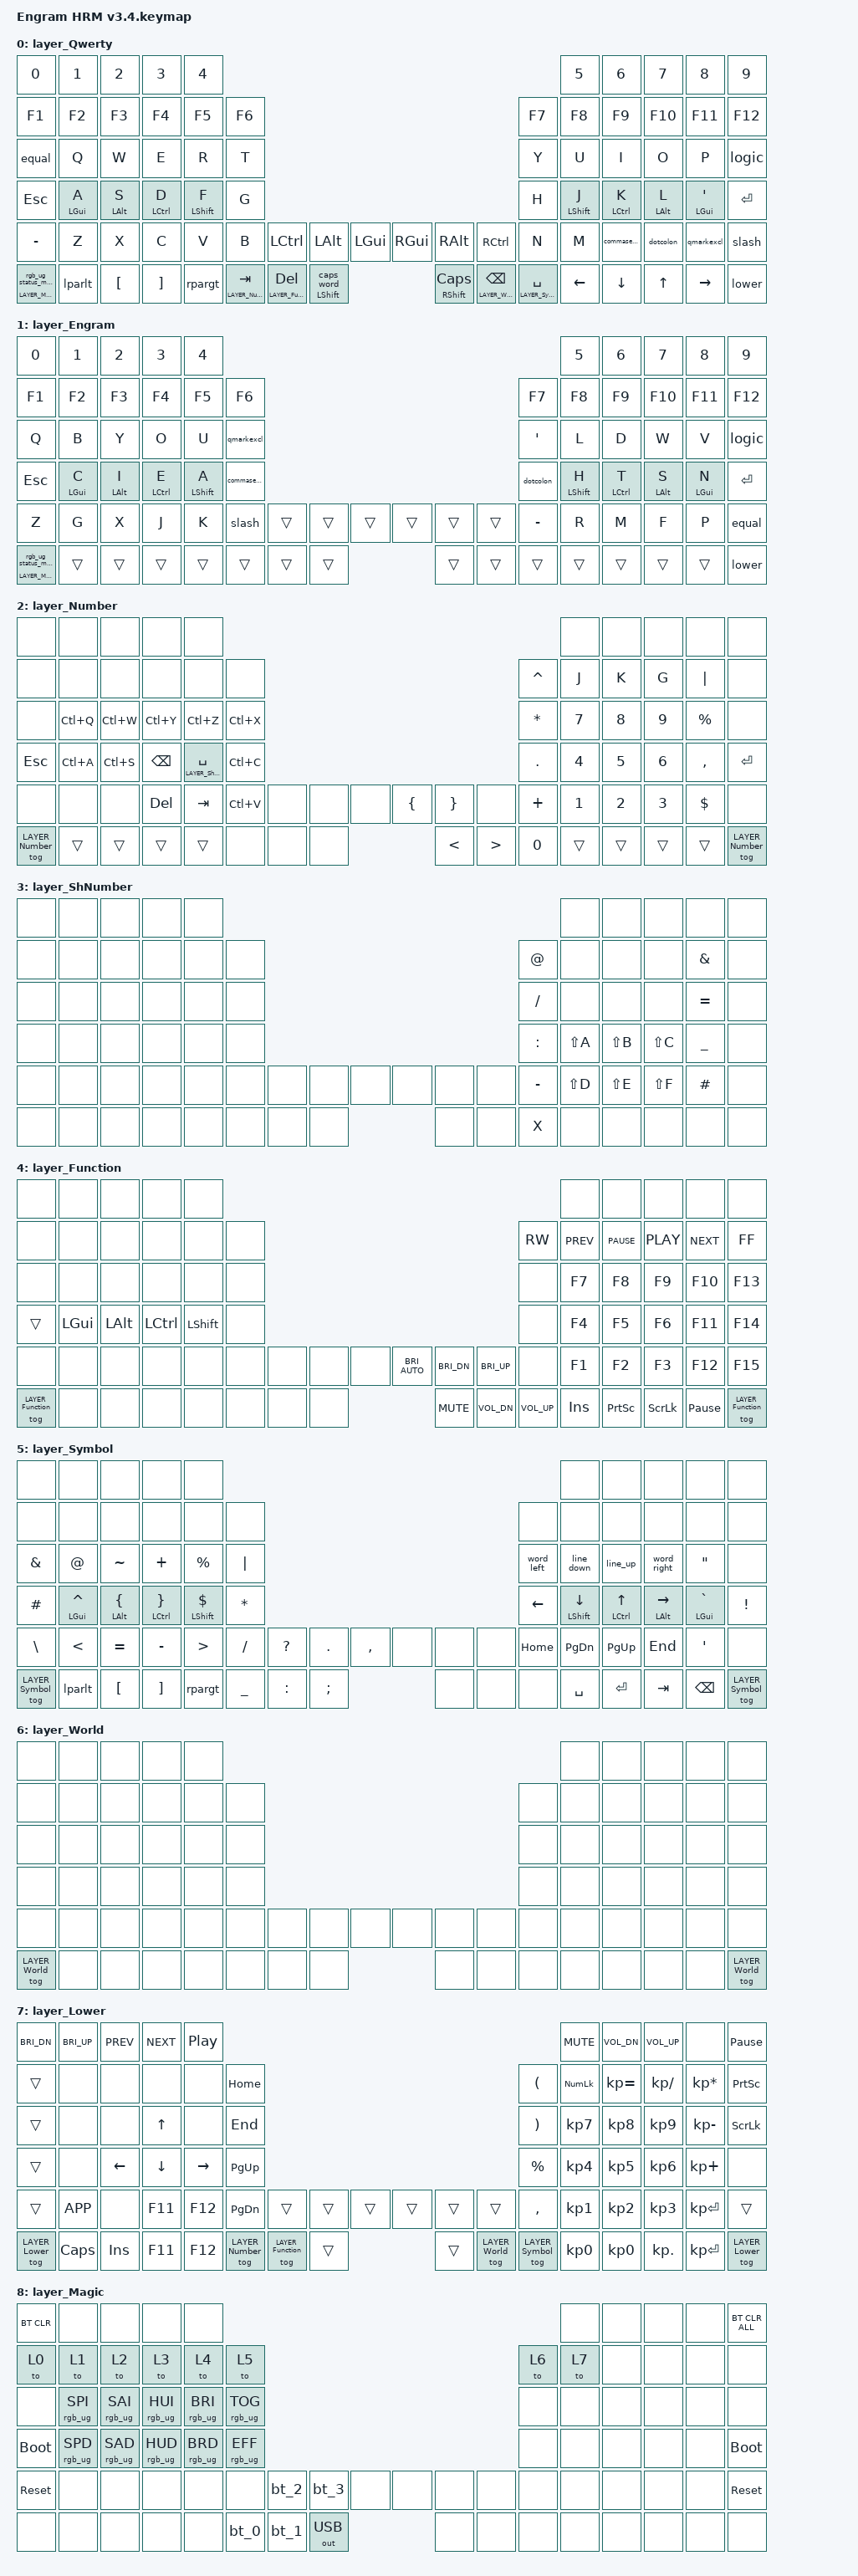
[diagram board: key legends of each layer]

/*
 * Copyright (c) 2020 The ZMK Contributors
 * Copyright (c) 2023 Innaworks Development Limited, trading as MoErgo
 *
 * SPDX-License-Identifier: MIT
 */


/* THIS FILE WAS GENERATED BY GLOVE80 LAYOUT EDITOR
 *
 * This file was generated automatically. You may or may not want to
 * edit it directly.
 */

#include <behaviors.dtsi>
/* Include all behavior includes needed */
#include <dt-bindings/zmk/outputs.h>
#include <dt-bindings/zmk/keys.h>
#include <dt-bindings/zmk/bt.h>
#include <dt-bindings/zmk/rgb.h>

/* Automatically generated layer name #define */
#define LAYER_Qwerty 0
#define LAYER_Engram 1
#define LAYER_Number 2
#define LAYER_ShNumber 3
#define LAYER_Function 4
#define LAYER_Symbol 5
#define LAYER_World 6
#define LAYER_Lower 7
#define LAYER_Magic 8

/* To deal with the situation where there is no Lower layer, to keep &lower happy */
#ifndef LAYER_Lower
#define LAYER_Lower 0
#endif

/* Custom Device-tree */



/* Glove80 system behavior & macros */
/ {
    behaviors {
        // For the "layer" key, it'd nice to be able to use it as either a shift or a toggle.
        // Configure it as a tap dance, so the first tap (or hold) is a &mo and the second tap is a &to
        lower: lower {
            compatible = "zmk,behavior-tap-dance";
            label = "LAYER_TAP_DANCE";
            #binding-cells = <0>;
            tapping-term-ms = <200>;
            bindings = <&mo LAYER_Lower>, <&to LAYER_Lower>;
        };
    };
};

/ {
    macros {
        rgb_ug_status_macro: rgb_ug_status_macro {
            label = "RGB_UG_STATUS";
            compatible = "zmk,behavior-macro";
            #binding-cells = <0>;
            bindings
                = <&rgb_ug RGB_STATUS>;
        };
    };
};


/ {
#ifdef BT_DISC_CMD
    behaviors {
        bt_0: bt_0 {
            compatible = "zmk,behavior-tap-dance";
            label = "BT_0";
            #binding-cells = <0>;
            tapping-term-ms = <200>;
            bindings = <&bt_select_0>, <&bt BT_DISC 0>;
        };
        bt_1: bt_1 {
            compatible = "zmk,behavior-tap-dance";
            label = "BT_1";
            #binding-cells = <0>;
            tapping-term-ms = <200>;
            bindings = <&bt_select_1>, <&bt BT_DISC 1>;
        };
        bt_2: bt_2 {
            compatible = "zmk,behavior-tap-dance";
            label = "BT_2";
            #binding-cells = <0>;
            tapping-term-ms = <200>;
            bindings = <&bt_select_2>, <&bt BT_DISC 2>;
        };
        bt_3: bt_3 {
            compatible = "zmk,behavior-tap-dance";
            label = "BT_3";
            #binding-cells = <0>;
            tapping-term-ms = <200>;
            bindings = <&bt_select_3>, <&bt BT_DISC 3>;
        };
    };
    macros {
        bt_select_0: bt_select_0 {
            label = "BT_SELECT_0";
            compatible = "zmk,behavior-macro";
            #binding-cells = <0>;
            bindings
                = <&out OUT_BLE>,
                  <&bt BT_SEL 0>;
        };
        bt_select_1: bt_select_1 {
            label = "BT_SELECT_1";
            compatible = "zmk,behavior-macro";
            #binding-cells = <0>;
            bindings
                = <&out OUT_BLE>,
                  <&bt BT_SEL 1>;
        };
        bt_select_2: bt_select_2 {
            label = "BT_SELECT_2";
            compatible = "zmk,behavior-macro";
            #binding-cells = <0>;
            bindings
                = <&out OUT_BLE>,
                  <&bt BT_SEL 2>;
        };
        bt_select_3: bt_select_3 {
            label = "BT_SELECT_3";
            compatible = "zmk,behavior-macro";
            #binding-cells = <0>;
            bindings
                = <&out OUT_BLE>,
                  <&bt BT_SEL 3>;
        };
    };
#else
    macros {
        bt_0: bt_0 {
            label = "BT_0";
            compatible = "zmk,behavior-macro";
            #binding-cells = <0>;
            bindings
                = <&out OUT_BLE>,
                  <&bt BT_SEL 0>;
        };
        bt_1: bt_1 {
            label = "BT_1";
            compatible = "zmk,behavior-macro";
            #binding-cells = <0>;
            bindings
                = <&out OUT_BLE>,
                  <&bt BT_SEL 1>;
        };
        bt_2: bt_2 {
            label = "BT_2";
            compatible = "zmk,behavior-macro";
            #binding-cells = <0>;
            bindings
                = <&out OUT_BLE>,
                  <&bt BT_SEL 2>;
        };
        bt_3: bt_3 {
            label = "BT_3";
            compatible = "zmk,behavior-macro";
            #binding-cells = <0>;
            bindings
                = <&out OUT_BLE>,
                  <&bt BT_SEL 3>;
        };
    };
#endif
};

/ {
    behaviors {
        magic: magic {
            compatible = "zmk,behavior-hold-tap";
            label = "MAGIC_HOLD_TAP";
            #binding-cells = <2>;
            flavor = "tap-preferred";
            tapping-term-ms = <200>;
            bindings = <&mo>, <&rgb_ug_status_macro>;
        };
    };
};

/* #define for key positions */
#define POS_LH_T1 52
#define POS_LH_T2 53
#define POS_LH_T3 54
#define POS_LH_T4 69
#define POS_LH_T5 70
#define POS_LH_T6 71
#define POS_LH_C1R2 15
#define POS_LH_C1R3 27
#define POS_LH_C1R4 39
#define POS_LH_C1R5 51
#define POS_LH_C2R1 4
#define POS_LH_C2R2 14
#define POS_LH_C2R3 26
#define POS_LH_C2R4 38
#define POS_LH_C2R5 50
#define POS_LH_C2R6 68
#define POS_LH_C3R1 3
#define POS_LH_C3R2 13
#define POS_LH_C3R3 25
#define POS_LH_C3R4 37
#define POS_LH_C3R5 49
#define POS_LH_C3R6 67
#define POS_LH_C4R1 2
#define POS_LH_C4R2 12
#define POS_LH_C4R3 24
#define POS_LH_C4R4 36
#define POS_LH_C4R5 48
#define POS_LH_C4R6 66
#define POS_LH_C5R1 1
#define POS_LH_C5R2 11
#define POS_LH_C5R3 23
#define POS_LH_C5R4 35
#define POS_LH_C5R5 47
#define POS_LH_C5R6 65
#define POS_LH_C6R1 0
#define POS_LH_C6R2 10
#define POS_LH_C6R3 22
#define POS_LH_C6R4 34
#define POS_LH_C6R5 46
#define POS_LH_C6R6 64
#define POS_RH_T1 57
#define POS_RH_T2 56
#define POS_RH_T3 55
#define POS_RH_T4 74
#define POS_RH_T5 73
#define POS_RH_T6 72
#define POS_RH_C1R2 16
#define POS_RH_C1R3 28
#define POS_RH_C1R4 40
#define POS_RH_C1R5 58
#define POS_RH_C2R1 5
#define POS_RH_C2R2 17
#define POS_RH_C2R3 29
#define POS_RH_C2R4 41
#define POS_RH_C2R5 59
#define POS_RH_C2R6 75
#define POS_RH_C3R1 6
#define POS_RH_C3R2 18
#define POS_RH_C3R3 30
#define POS_RH_C3R4 42
#define POS_RH_C3R5 60
#define POS_RH_C3R6 76
#define POS_RH_C4R1 7
#define POS_RH_C4R2 19
#define POS_RH_C4R3 31
#define POS_RH_C4R4 43
#define POS_RH_C4R5 61
#define POS_RH_C4R6 77
#define POS_RH_C5R1 8
#define POS_RH_C5R2 20
#define POS_RH_C5R3 32
#define POS_RH_C5R4 44
#define POS_RH_C5R5 62
#define POS_RH_C5R6 78
#define POS_RH_C6R1 9
#define POS_RH_C6R2 21
#define POS_RH_C6R3 33
#define POS_RH_C6R4 45
#define POS_RH_C6R5 63
#define POS_RH_C6R6 79

/* Custom Defined Behaviors */
/ {
// HRM parameters
#define HOLD_TYPE "tap-preferred" // flavor of hold-tap. `tap-preferred` means modifier will only be triggered if held for `HOLD_TIME` or longer. Pressing another key before this triggers 'tap' behavior. Except for keys in `hold-trigger-key-positions`
#define HOLD_TIME 200 // how long you need to hold key in order to send their modifiers to the computer
#define STREAK_DECAY 150 // how long you need to wait after typing before you can use home row mods again.
#define REPEAT_DECAY 300 // how much time you have left after tapping a key to hold it again in order to make it auto-repeat.
#define SELECT_WORD_DELAY 1 // wait-ms and tap-ms for select word macros

// Glove80 key positions index for positional hold-tap
    #define LEFT_HAND_KEYS      \
          0  1  2  3  4         \
         10 11 12 13 14 15      \
         22 23 24 25 26 27      \
         34 35 36 37 38 39      \
         46 47 48 49 50 51      \
         64 65 66 67 68
    #define RIGHT_HAND_KEYS     \
                                           5  6  7  8  9 \
                                       16 17 18 19 20 21 \
                                       28 29 30 31 32 33 \
                                       40 41 42 43 44 45 \
                                       58 59 60 61 62 63 \
                                          75 76 77 78 79
    #define THUMB_KEYS          \
                        69 52       57 74                \
                         70 53     56 73                 \
                          71 54   55 72

behaviors {
    word_right: word_right {
      compatible = "zmk,behavior-mod-morph";
      #binding-cells = <0>;
      bindings = <&select_word_right>, <&extend_word_right>;
      mods = <(MOD_LSFT|MOD_RSFT)>;
    };

    word_left: word_left {
      compatible = "zmk,behavior-mod-morph";
      #binding-cells = <0>;
      bindings = <&select_word_left>, <&extend_word_left>;
      mods = <(MOD_LSFT|MOD_RSFT)>;
    };

    line_down: line_down {
      compatible = "zmk,behavior-mod-morph";
      #binding-cells = <0>;
      bindings = <&select_line_down>, <&extend_line_down>;
      mods = <(MOD_LSFT|MOD_RSFT)>;
    };

    line_up: line_up {
      compatible = "zmk,behavior-mod-morph";
      #binding-cells = <0>;
      bindings = <&select_line_up>, <&extend_line_up>;
      mods = <(MOD_LSFT|MOD_RSFT)>;
    };

    lparlt: shift_LPAR_LT {
      compatible = "zmk,behavior-mod-morph";
      #binding-cells = <0>;
      bindings = <&kp LPAR>, <&kp LT>;
      mods = <(MOD_LSFT|MOD_RSFT)>;
    };

    rpargt: shift_RPAR_GT {
      compatible = "zmk,behavior-mod-morph";
      #binding-cells = <0>;
      bindings = <&kp RPAR>, <&kp GT>;
      mods = <(MOD_LSFT|MOD_RSFT)>;
    };

    dotcolon: shift_DOT_COLON {
      compatible = "zmk,behavior-mod-morph";
      #binding-cells = <0>;
      bindings = <&kp DOT>, <&kp COLON>;
      mods = <(MOD_LSFT|MOD_RSFT)>;
    };

    commasemi: shift_COMMA_SEMI {
      compatible = "zmk,behavior-mod-morph";
      #binding-cells = <0>;
      bindings = <&kp COMMA>, <&kp SEMI>;
      mods = <(MOD_LSFT|MOD_RSFT)>;
    };

    qmarkexcl: shift_QMARK_EXCL {
      compatible = "zmk,behavior-mod-morph";
      #binding-cells = <0>;
      bindings = <&kp QMARK>, <&kp EXCL>;
      mods = <(MOD_LSFT|MOD_RSFT)>;
    };

    slash: shift_FSLH_BSLH {
      compatible = "zmk,behavior-mod-morph";
      #binding-cells = <0>;
      bindings = <&kp FSLH>, <&kp BSLH>;
      mods = <(MOD_LSFT|MOD_RSFT)>;
    };

    plusminus: shift_PLUS_MINUS {
      compatible = "zmk,behavior-mod-morph";
      #binding-cells = <0>;
      bindings = <&kp PLUS>, <&kp MINUS>;
      mods = <(MOD_LSFT|MOD_RSFT)>;
    };

    starfslh: shift_STAR_FSLH {
      compatible = "zmk,behavior-mod-morph";
      #binding-cells = <0>;
      bindings = <&kp STAR>, <&kp FSLH>;
      mods = <(MOD_LSFT|MOD_RSFT)>;
    };

    caretat: shift_CARET_AT {
      compatible = "zmk,behavior-mod-morph";
      #binding-cells = <0>;
      bindings = <&kp CARET>, <&kp AT>;
      mods = <(MOD_LSFT|MOD_RSFT)>;
    };

    logic: shift_PIPE_AMPS {
      compatible = "zmk,behavior-mod-morph";
      #binding-cells = <0>;
      bindings = <&kp PIPE>, <&kp AMPS>;
      mods = <(MOD_LSFT|MOD_RSFT)>;
    };

    prcntequal: shift_PRCNT_EQUAL {
      compatible = "zmk,behavior-mod-morph";
      #binding-cells = <0>;
      bindings = <&kp PRCNT>, <&kp EQUAL>;
      mods = <(MOD_LSFT|MOD_RSFT)>;
    };

    commaunder: shift_COMMA_UNDER {
      compatible = "zmk,behavior-mod-morph";
      #binding-cells = <0>;
      bindings = <&kp COMMA>, <&kp UNDER>;
      mods = <(MOD_LSFT|MOD_RSFT)>;
    };

    dllrhash: shift_DLLR_HASH {
      compatible = "zmk,behavior-mod-morph";
      #binding-cells = <0>;
      bindings = <&kp DLLR>, <&kp HASH>;
      mods = <(MOD_LSFT|MOD_RSFT)>;
    };

    equal: shift_EQUAL_TILDE {
      compatible = "zmk,behavior-mod-morph";
      #binding-cells = <0>;
      bindings = <&kp EQUAL>, <&kp TILDE>;
      mods = <(MOD_LSFT|MOD_RSFT)>;
    };

    lmt: left_mod_tap {
      compatible = "zmk,behavior-hold-tap";
      flavor = HOLD_TYPE;
      tapping-term-ms = <HOLD_TIME>;
      quick-tap-ms = <REPEAT_DECAY>;
      require-prior-idle-ms = <STREAK_DECAY>;
      hold-trigger-key-positions = <RIGHT_HAND_KEYS THUMB_KEYS>;
      hold-trigger-on-release; // wait for other home row mods
      #binding-cells = <2>;
      bindings = <&kp>, <&kp>;
    };

    rmt: right_mod_tap {
      compatible = "zmk,behavior-hold-tap";
      flavor = HOLD_TYPE;
      tapping-term-ms = <HOLD_TIME>;
      quick-tap-ms = <REPEAT_DECAY>;
      require-prior-idle-ms = <STREAK_DECAY>;
      hold-trigger-key-positions = <LEFT_HAND_KEYS THUMB_KEYS>;
      hold-trigger-on-release; // wait for other home row mods
      #binding-cells = <2>;
      bindings = <&kp>, <&kp>;
    };

    tlt: thumb_layer_tap {
      compatible = "zmk,behavior-hold-tap";
      flavor = HOLD_TYPE;
      tapping-term-ms = <HOLD_TIME>;
      quick-tap-ms = <REPEAT_DECAY>;
      #binding-cells = <2>;
      bindings = <&mo>, <&kp>;
    };

    rtsh: right_thumb_shift {
      compatible = "zmk,behavior-hold-tap";
      flavor = HOLD_TYPE;
      tapping-term-ms = <HOLD_TIME>;
      quick-tap-ms = <REPEAT_DECAY>;
      require-prior-idle-ms = <STREAK_DECAY>;
      hold-trigger-key-positions = <LEFT_HAND_KEYS RIGHT_HAND_KEYS>;
      hold-trigger-on-release; // wait for other home row mods
      #binding-cells = <2>;
      bindings = <&kp>, <&kp>;
    };

    ltsh: left_thumb_shift {
      compatible = "zmk,behavior-hold-tap";
      flavor = HOLD_TYPE;
      tapping-term-ms = <HOLD_TIME>;
      quick-tap-ms = <REPEAT_DECAY>;
      require-prior-idle-ms = <STREAK_DECAY>;
      hold-trigger-key-positions = <LEFT_HAND_KEYS RIGHT_HAND_KEYS>;
      hold-trigger-on-release; // wait for other home row mods
      #binding-cells = <2>;
      bindings = <&kp>, <&caps_word>;
    };

};
};

/* Automatically generated macro definitions */
/ {
    macros {
        select_none: select_none {
            label = "&SELECT_NONE";
            compatible = "zmk,behavior-macro";
            #binding-cells = <0>;
            tap-ms = <11>;
            wait-ms = <11>;
            bindings
                = <&kp DOWN>
                , <&kp UP>
                , <&kp RIGHT>
                , <&kp LEFT>;
        };
    select_word_right: select_word_right {
            label = "&SELECT_WORD_RIGHT";
            compatible = "zmk,behavior-macro";
            #binding-cells = <0>;
            tap-ms = <1>;
            wait-ms = <1>;
            bindings
                = <&kp LC(LEFT)>
                , <&kp LC(RIGHT)>
                , <&kp LC(LS(RIGHT))>;
        };
    select_word_left: select_word_left {
            label = "&SELECT_WORD_LEFT";
            compatible = "zmk,behavior-macro";
            #binding-cells = <0>;
            tap-ms = <1>;
            wait-ms = <1>;
            bindings
                = <&kp LC(RIGHT)>
                , <&kp LC(LEFT)>
                , <&kp LC(LS(LEFT))>;
        };
    select_line_down: select_line_down {
            label = "&SELECT_LINE_DOWN";
            compatible = "zmk,behavior-macro";
            #binding-cells = <0>;
            tap-ms = <10>;
            wait-ms = <10>;
            bindings
                = <&kp DOWN>
                , <&kp HOME>
                , <&kp LS(END)>;
        };
    select_line_up: select_line_up {
            label = "&SELECT_LINE_UP";
            compatible = "zmk,behavior-macro";
            #binding-cells = <0>;
            tap-ms = <10>;
            wait-ms = <10>;
            bindings
                = <&kp UP>
                , <&kp END>
                , <&kp LS(HOME)>;
        };
    extend_line_up: extend_line_up {
            label = "&EXTEND_LINE_UP";
            compatible = "zmk,behavior-macro";
            #binding-cells = <0>;
            tap-ms = <1>;
            wait-ms = <1>;
            bindings
                = <&kp LS(UP)>
                , <&kp LS(HOME)>;
        };
    extend_line_down: extend_line_down {
            label = "&EXTEND_LINE_DOWN";
            compatible = "zmk,behavior-macro";
            #binding-cells = <0>;
            tap-ms = <1>;
            wait-ms = <1>;
            bindings
                = <&kp LS(DOWN)>
                , <&kp LS(END)>;
        };
    extend_word_right: extend_word_right {
            label = "&EXTEND_WORD_RIGHT";
            compatible = "zmk,behavior-macro";
            #binding-cells = <0>;
            tap-ms = <1>;
            wait-ms = <1>;
            bindings
                = <&kp LC(LS(RIGHT))>;
        };
    extend_word_left: extend_word_left {
            label = "&EXTEND_WORD_LEFT";
            compatible = "zmk,behavior-macro";
            #binding-cells = <0>;
            tap-ms = <1>;
            wait-ms = <1>;
            bindings
                = <&kp LC(LS(LEFT))>;
        };
    };
};

/* Automatically generated combos definitions */
/ {
    combos {
            compatible = "zmk,combos";
    };
};

/* Automatically generated keymap */
/ {
    keymap {
        compatible = "zmk,keymap";


        layer_Qwerty {
            bindings = <
               &kp N0       &kp N1       &kp N2        &kp N3        &kp N4                                                                                                                                                         &kp N5        &kp N6       &kp N7         &kp N8   &kp N9
               &kp F1       &kp F2       &kp F3        &kp F4        &kp F5  &kp F6                                                                                                                                   &kp F7        &kp F8        &kp F9      &kp F10        &kp F11  &kp F12
               &equal        &kp Q        &kp W         &kp E         &kp R   &kp T                                                                                                                                    &kp Y         &kp U         &kp I        &kp O          &kp P   &logic
              &kp ESC  &lmt LGUI A  &lmt LALT S  &lmt LCTRL D  &lmt LSHFT F   &kp G                                                                                                                                    &kp H  &rmt LSHFT J  &rmt LCTRL K  &rmt LALT L  &rmt LGUI SQT  &kp RET
            &kp MINUS        &kp Z        &kp X         &kp C         &kp V   &kp B              &kp LCTRL                 &kp LALT       &kp LGUI          &kp RGUI               &kp RALT                &kp RCTRL   &kp N         &kp M    &commasemi    &dotcolon     &qmarkexcl   &slash
 &magic LAYER_Magic 0      &lparlt     &kp LBKT      &kp RBKT       &rpargt          &tlt LAYER_Number TAB  &tlt LAYER_Function DEL  &ltsh LSHFT 0  &rtsh RSHFT CAPS  &tlt LAYER_World BSPC  &tlt LAYER_Symbol SPACE              &kp LEFT      &kp DOWN       &kp UP      &kp RIGHT   &lower
            >;
        };

        layer_Engram {
            bindings = <
               &kp N0       &kp N1       &kp N2        &kp N3        &kp N4                                                                               &kp N5        &kp N6       &kp N7       &kp N8   &kp N9
               &kp F1       &kp F2       &kp F3        &kp F4        &kp F5      &kp F6                                                     &kp F7        &kp F8        &kp F9      &kp F10      &kp F11  &kp F12
                &kp Q        &kp B        &kp Y         &kp O         &kp U  &qmarkexcl                                                    &kp SQT         &kp L         &kp D        &kp W        &kp V   &logic
              &kp ESC  &lmt LGUI C  &lmt LALT I  &lmt LCTRL E  &lmt LSHFT A  &commasemi                                                  &dotcolon  &rmt LSHFT H  &rmt LCTRL T  &rmt LALT S  &rmt LGUI N  &kp RET
                &kp Z        &kp G        &kp X         &kp J         &kp K      &slash  &trans  &trans  &trans  &trans  &trans  &trans  &kp MINUS         &kp R         &kp M        &kp F        &kp P   &equal
 &magic LAYER_Magic 0       &trans       &trans        &trans        &trans              &trans  &trans  &trans  &trans  &trans  &trans                   &trans        &trans       &trans       &trans   &lower
            >;
        };

        layer_Number {
            bindings = <
             &none      &none      &none      &none                     &none                                                                             &none   &none   &none      &none              &none
             &none      &none      &none      &none                     &none      &none                                                      &kp CARET   &kp J   &kp K   &kp G   &kp PIPE              &none
             &none  &kp LC(Q)  &kp LC(W)  &kp LC(Y)                 &kp LC(Z)  &kp LC(X)                                                       &kp STAR  &kp N7  &kp N8  &kp N9  &kp PRCNT              &none
           &kp ESC  &kp LC(A)  &kp LC(S)   &kp BSPC  &lt LAYER_ShNumber SPACE  &kp LC(C)                                                        &kp DOT  &kp N4  &kp N5  &kp N6  &kp COMMA            &kp RET
             &none      &none      &none    &kp DEL                   &kp TAB  &kp LC(V)   &none   &none   &none  &kp LBRC  &kp RBRC   &none   &kp PLUS  &kp N1  &kp N2  &kp N3   &kp DLLR              &none
 &tog LAYER_Number     &trans     &trans     &trans                    &trans              &none   &none   &none    &kp LT    &kp GT  &kp N0             &trans  &trans  &trans     &trans  &tog LAYER_Number
            >;
        };

        layer_ShNumber {
            bindings = <
  &none   &none   &none   &none   &none                                                                         &none      &none      &none      &none   &none
  &none   &none   &none   &none   &none   &none                                                     &kp AT      &none      &none      &none   &kp AMPS   &none
  &none   &none   &none   &none   &none   &none                                                   &kp FSLH      &none      &none      &none  &kp EQUAL   &none
  &none   &none   &none   &none   &none   &none                                                  &kp COLON  &kp LS(A)  &kp LS(B)  &kp LS(C)  &kp UNDER   &none
  &none   &none   &none   &none   &none   &none   &none   &none   &none   &none   &none   &none  &kp MINUS  &kp LS(D)  &kp LS(E)  &kp LS(F)   &kp HASH   &none
  &none   &none   &none   &none   &none           &none   &none   &none   &none   &none   &kp X                 &none      &none      &none      &none   &none
            >;
        };

        layer_Function {
            bindings = <
               &none     &none     &none      &none      &none                                                                                             &none        &none       &none            &none                &none
               &none     &none     &none      &none      &none   &none                                                                      &kp C_RW  &kp C_PREV  &kp C_PAUSE  &kp C_PLAY       &kp C_NEXT             &kp C_FF
               &none     &none     &none      &none      &none   &none                                                                         &none      &kp F7       &kp F8      &kp F9          &kp F10              &kp F13
              &trans  &kp LGUI  &kp LALT  &kp LCTRL  &kp LSHFT   &none                                                                         &none      &kp F4       &kp F5      &kp F6          &kp F11              &kp F14
               &none     &none     &none      &none      &none   &none   &none   &none   &none  &kp C_BRI_AUTO  &kp C_BRI_DN  &kp C_BRI_UP     &none      &kp F1       &kp F2      &kp F3          &kp F12              &kp F15
 &tog LAYER_Function     &none     &none      &none      &none           &none   &none   &none      &kp C_MUTE  &kp C_VOL_DN  &kp C_VOL_UP               &kp INS    &kp PSCRN    &kp SLCK  &kp PAUSE_BREAK  &tog LAYER_Function
            >;
        };

        layer_Symbol {
            bindings = <
             &none            &none           &none            &none            &none                                                                                           &none          &none            &none            &none              &none
             &none            &none           &none            &none            &none     &none                                                                &none            &none          &none            &none            &none              &none
          &kp AMPS           &kp AT       &kp TILDE         &kp PLUS        &kp PRCNT  &kp PIPE                                                           &word_left       &line_down       &line_up      &word_right          &kp DQT              &none
          &kp HASH  &lmt LGUI CARET  &lmt LALT LBRC  &lmt LCTRL RBRC  &lmt LSHFT DLLR  &kp STAR                                                             &kp LEFT  &rmt LSHFT DOWN  &rmt LCTRL UP  &rmt LALT RIGHT  &rmt LGUI GRAVE           &kp EXCL
          &kp BSLH           &kp LT       &kp EQUAL        &kp MINUS           &kp GT  &kp FSLH  &kp QMARK    &kp DOT  &kp COMMA   &none   &none   &none    &kp HOME        &kp PG_DN      &kp PG_UP          &kp END          &kp SQT              &none
 &tog LAYER_Symbol          &lparlt        &kp LBKT         &kp RBKT          &rpargt            &kp UNDER  &kp COLON   &kp SEMI   &none   &none   &none                    &kp SPACE        &kp RET          &kp TAB         &kp BSPC  &tog LAYER_Symbol
            >;
        };

        layer_World {
            bindings = <
            &none   &none   &none   &none   &none                                                                   &none   &none   &none   &none             &none
            &none   &none   &none   &none   &none   &none                                                   &none   &none   &none   &none   &none             &none
            &none   &none   &none   &none   &none   &none                                                   &none   &none   &none   &none   &none             &none
            &none   &none   &none   &none   &none   &none                                                   &none   &none   &none   &none   &none             &none
            &none   &none   &none   &none   &none   &none   &none   &none   &none   &none   &none   &none   &none   &none   &none   &none   &none             &none
 &tog LAYER_World   &none   &none   &none   &none           &none   &none   &none   &none   &none   &none           &none   &none   &none   &none  &tog LAYER_World
            >;
        };

        layer_Lower {
            bindings = <
     &kp C_BRI_DN  &kp C_BRI_UP      &kp C_PREV      &kp C_NEXT         &kp C_PP                                                                                                                                 &kp C_MUTE  &kp C_VOL_DN  &kp C_VOL_UP            &none   &kp PAUSE_BREAK
           &trans         &none           &none           &none            &none   &kp HOME                                                                                                &kp LEFT_PARENTHESIS  &kp KP_NUM  &kp KP_EQUAL  &kp KP_SLASH  &kp KP_MULTIPLY   &kp PRINTSCREEN
           &trans         &none           &none    &kp UP_ARROW            &none    &kp END                                                                                               &kp RIGHT_PARENTHESIS   &kp KP_N7     &kp KP_N8     &kp KP_N9     &kp KP_MINUS    &kp SCROLLLOCK
           &trans         &none  &kp LEFT_ARROW  &kp DOWN_ARROW  &kp RIGHT_ARROW  &kp PG_UP                                                                                                         &kp PERCENT   &kp KP_N4     &kp KP_N5     &kp KP_N6      &kp KP_PLUS             &none
           &trans     &kp K_APP           &none         &kp F11          &kp F12  &kp PG_DN             &trans               &trans  &trans  &trans            &trans             &trans              &kp COMMA   &kp KP_N1     &kp KP_N2     &kp KP_N3     &kp KP_ENTER            &trans
 &tog LAYER_Lower      &kp CAPS         &kp INS         &kp F11          &kp F12             &tog LAYER_Number  &tog LAYER_Function  &trans  &trans  &tog LAYER_World  &tog LAYER_Symbol                          &kp KP_N0     &kp KP_N0    &kp KP_DOT     &kp KP_ENTER  &tog LAYER_Lower
            >;
        };

        layer_Magic {
            bindings = <
  &bt BT_CLR            &none            &none            &none            &none                                                                                  &none   &none   &none   &none  &bt BT_CLR_ALL
       &to 0            &to 1            &to 2            &to 3            &to 4            &to 5                                                         &to 6   &to 7   &none   &none   &none           &none
       &none  &rgb_ug RGB_SPI  &rgb_ug RGB_SAI  &rgb_ug RGB_HUI  &rgb_ug RGB_BRI  &rgb_ug RGB_TOG                                                         &none   &none   &none   &none   &none           &none
 &bootloader  &rgb_ug RGB_SPD  &rgb_ug RGB_SAD  &rgb_ug RGB_HUD  &rgb_ug RGB_BRD  &rgb_ug RGB_EFF                                                         &none   &none   &none   &none   &none     &bootloader
  &sys_reset            &none            &none            &none            &none            &none   &bt_2   &bt_3         &none   &none   &none   &none   &none   &none   &none   &none   &none      &sys_reset
       &none            &none            &none            &none            &none                    &bt_0   &bt_1  &out OUT_USB   &none   &none   &none           &none   &none   &none   &none           &none
            >;
        };

    };
};
